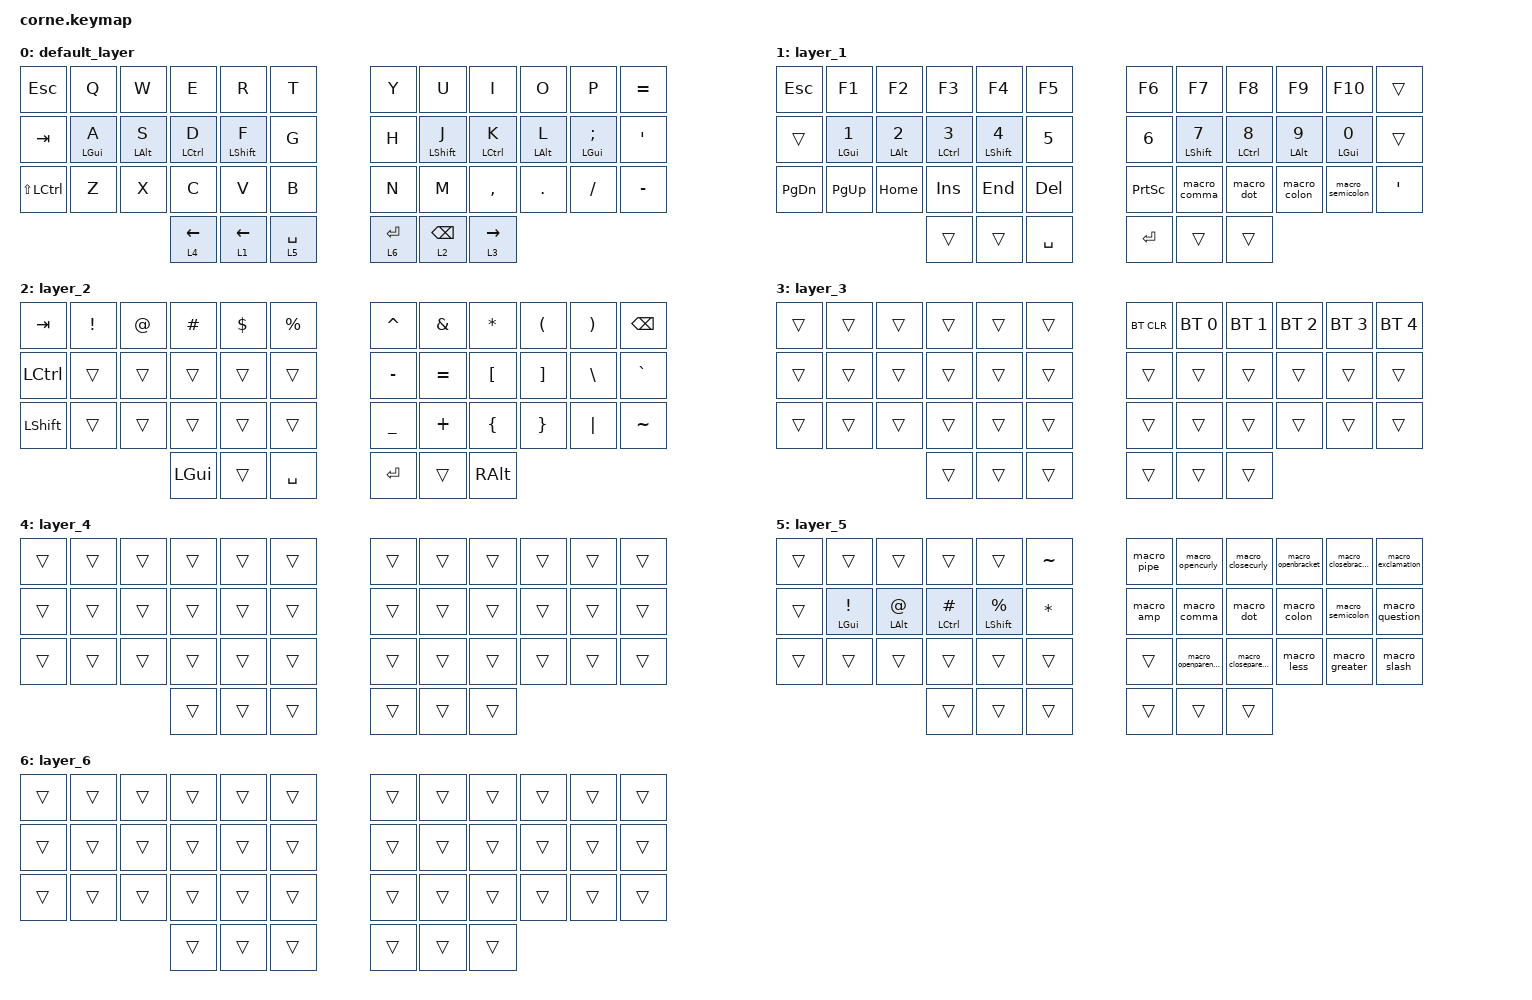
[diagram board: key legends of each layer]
/*
 * Copyright (c) 2020 The ZMK Contributors
 *
 * SPDX-License-Identifier: MIT
 */

#include <behaviors.dtsi>
#include <dt-bindings/zmk/bt.h>
#include <dt-bindings/zmk/keys.h>

/ {
    macros {
        macro_comma: macro_comma {
            compatible = "zmk,behavior-macro";
            #binding-cells = <0>;
            bindings =
                <&macro_press>,
                <&kp LALT>,
                <&macro_tap>,
                <&kp KP_N4 &kp KP_N4>,
                <&macro_release>,
                <&kp LALT>;
        };

        macro_dot: macro_dot {
            compatible = "zmk,behavior-macro";
            #binding-cells = <0>;
            bindings =
                <&macro_press>,
                <&kp LALT>,
                <&macro_tap>,
                <&kp KP_N4 &kp KP_N6>,
                <&macro_release>,
                <&kp LALT>;
        };

        macro_colon: macro_colon {
            compatible = "zmk,behavior-macro";
            #binding-cells = <0>;
            bindings =
                <&macro_press>,
                <&kp LALT>,
                <&macro_tap>,
                <&kp KP_N5 &kp KP_N8>,
                <&macro_release>,
                <&kp LALT>;
        };

        macro_semicolon: macro_semicolon {
            compatible = "zmk,behavior-macro";
            #binding-cells = <0>;
            bindings =
                <&macro_press>,
                <&kp LALT>,
                <&macro_tap>,
                <&kp KP_N5 &kp KP_N9>,
                <&macro_release>,
                <&kp LALT>;
        };

        macro_greater: macro_greater {
            compatible = "zmk,behavior-macro";
            #binding-cells = <0>;
            bindings =
                <&macro_press>,
                <&kp LALT>,
                <&macro_tap>,
                <&kp KP_N6 &kp KP_N2>,
                <&macro_release>,
                <&kp LALT>;
        };

        macro_less: macro_less {
            compatible = "zmk,behavior-macro";
            #binding-cells = <0>;
            bindings =
                <&macro_press>,
                <&kp LALT>,
                <&macro_tap>,
                <&kp KP_N6 &kp KP_N0>,
                <&macro_release>,
                <&kp LALT>;
        };

        macro_slash: macro_slash {
            compatible = "zmk,behavior-macro";
            #binding-cells = <0>;
            bindings =
                <&macro_press>,
                <&kp LALT>,
                <&macro_tap>,
                <&kp KP_N4 &kp KP_N7>,
                <&macro_release>,
                <&kp LALT>;
        };

        macro_pipe: macro_pipe {
            compatible = "zmk,behavior-macro";
            #binding-cells = <0>;
            bindings =
                <&macro_press>,
                <&kp LALT>,
                <&macro_tap>,
                <&kp KP_N1 &kp KP_N2 &kp KP_N4>,
                <&macro_release>,
                <&kp LALT>;
        };

        macro_amp: macro_amp {
            compatible = "zmk,behavior-macro";
            #binding-cells = <0>;
            bindings =
                <&macro_press>,
                <&kp LALT>,
                <&macro_tap>,
                <&kp KP_N3 &kp KP_N8>,
                <&macro_release>,
                <&kp LALT>;
        };

        macro_question: macro_question {
            compatible = "zmk,behavior-macro";
            #binding-cells = <0>;
            bindings =
                <&macro_press>,
                <&kp LALT>,
                <&macro_tap>,
                <&kp KP_N6 &kp KP_N3>,
                <&macro_release>,
                <&kp LALT>;
        };

        macro_exclamation: macro_exclamation {
            compatible = "zmk,behavior-macro";
            #binding-cells = <0>;
            bindings =
                <&macro_press>,
                <&kp LALT>,
                <&macro_tap>,
                <&kp KP_N3 &kp KP_N3>,
                <&macro_release>,
                <&kp LALT>;
        };

        macro_openbracket: macro_openbracket {
            compatible = "zmk,behavior-macro";
            #binding-cells = <0>;
            bindings =
                <&macro_press>,
                <&kp LALT>,
                <&macro_tap>,
                <&kp KP_N9 &kp KP_N1>,
                <&macro_release>,
                <&kp LALT>;
        };

        macro_closebracket: macro_closebracket {
            compatible = "zmk,behavior-macro";
            #binding-cells = <0>;
            bindings =
                <&macro_press>,
                <&kp LALT>,
                <&macro_tap>,
                <&kp KP_N9 &kp KP_N3>,
                <&macro_release>,
                <&kp LALT>;
        };

        macro_opencurly: macro_opencurly {
            compatible = "zmk,behavior-macro";
            #binding-cells = <0>;
            bindings =
                <&macro_press>,
                <&kp LALT>,
                <&macro_tap>,
                <&kp KP_N1 &kp KP_N2 &kp KP_N3>,
                <&macro_release>,
                <&kp LALT>;
        };

        macro_closecurly: macro_closecurly {
            compatible = "zmk,behavior-macro";
            #binding-cells = <0>;
            bindings =
                <&macro_press>,
                <&kp LALT>,
                <&macro_tap>,
                <&kp KP_N1 &kp KP_N2 &kp KP_N5>,
                <&macro_release>,
                <&kp LALT>;
        };

        macro_openparenthesis: macro_openparenthesis {
            compatible = "zmk,behavior-macro";
            #binding-cells = <0>;
            bindings =
                <&macro_press>,
                <&kp LALT>,
                <&macro_tap>,
                <&kp KP_N4 &kp KP_N0>,
                <&macro_release>,
                <&kp LALT>;
        };

        macro_closeparenthesis: macro_closeparenthesis {
            compatible = "zmk,behavior-macro";
            #binding-cells = <0>;
            bindings =
                <&macro_press>,
                <&kp LALT>,
                <&macro_tap>,
                <&kp KP_N4 &kp KP_N1>,
                <&macro_release>,
                <&kp LALT>;
        };
    };

    keymap {
        compatible = "zmk,keymap";

        default_layer {
            // -----------------------------------------------------------------------------------------
            // |  TAB |  Q  |  W  |  E  |  R  |  T  |   |  Y  |  U   |  I  |  O  |  P  | BSPC |
            // | CTRL |  A  |  S  |  D  |  F  |  G  |   |  H  |  J   |  K  |  L  |  ;  |  '   |
            // | SHFT |  Z  |  X  |  C  |  V  |  B  |   |  N  |  M   |  ,  |  .  |  /  | ESC  |
            //                    | GUI | LWR | SPC |   | ENT | RSE  | ALT |

            bindings = <
&kp ESC        &kp Q       &kp W       &kp E        &kp R        &kp T          &kp Y      &kp U        &kp I        &kp O       &kp P          &kp EQUAL
&kp TAB        &mt LGUI A  &mt LALT S  &mt LCTRL D  &mt LSHFT F  &kp G          &kp H      &mt LSHFT J  &mt LCTRL K  &mt LALT L  &mt LGUI SEMI  &kp SQT
&kp LS(LCTRL)  &kp Z       &kp X       &kp C        &kp V        &kp B          &kp N      &kp M        &kp COMMA    &kp DOT     &kp FSLH       &kp MINUS
                                       &lt 4 LEFT   &lt 1 LEFT   &lt 5 SPACE    &lt 6 RET  &lt 2 BSPC   &lt 3 RIGHT
            >;
        };

        layer_1 {
            // -----------------------------------------------------------------------------------------
            // |  TAB |  1  |  2  |  3  |  4  |  5  |   |  6  |  7  |  8  |  9  |  0  | BSPC |
            // | BTCLR| BT1 | BT2 | BT3 | BT4 | BT5 |   | LFT | DWN |  UP | RGT |     |      |
            // | SHFT |     |     |     |     |     |   |     |     |     |     |     |      |
            //                    | GUI |     | SPC |   | ENT |     | ALT |

            bindings = <
&kp ESCAPE     &kp F1                 &kp F2                 &kp F3              &kp F4                   &kp F5          &kp F6           &kp F7                   &kp F8                     &kp F9                 &kp F10                &trans
&trans         &mt LEFT_GUI NUMBER_1  &mt LEFT_ALT NUMBER_2  &mt LCTRL NUMBER_3  &mt LEFT_SHIFT NUMBER_4  &kp NUMBER_5    &kp NUMBER_6     &mt LEFT_SHIFT NUMBER_7  &mt LEFT_CONTROL NUMBER_8  &mt LEFT_ALT NUMBER_9  &mt LEFT_GUI NUMBER_0  &trans
&kp PAGE_DOWN  &kp PG_UP              &kp HOME               &kp INSERT          &kp END                  &kp DELETE      &kp PRINTSCREEN  &macro_comma             &macro_dot                 &macro_colon           &macro_semicolon       &kp SQT
                                                             &trans              &trans                   &kp SPACE       &kp RET          &trans                   &trans
            >;
        };

        layer_2 {
            // -----------------------------------------------------------------------------------------
            // |  TAB |  !  |  @  |  #  |  $  |  %  |   |  ^  |  &  |  *  |  (  |  )  | BSPC |
            // | CTRL |     |     |     |     |     |   |  -  |  =  |  [  |  ]  |  \  |  `   |
            // | SHFT |     |     |     |     |     |   |  _  |  +  |  {  |  }  | "|" |  ~   |
            //                    | GUI |     | SPC |   | ENT |     | ALT |

            bindings = <
&kp TAB    &kp EXCL  &kp AT  &kp HASH  &kp DLLR  &kp PRCNT    &kp CARET  &kp AMPS   &kp ASTRK  &kp LPAR  &kp RPAR  &kp BSPC
&kp LCTRL  &trans    &trans  &trans    &trans    &trans       &kp MINUS  &kp EQUAL  &kp LBKT   &kp RBKT  &kp BSLH  &kp GRAVE
&kp LSHFT  &trans    &trans  &trans    &trans    &trans       &kp UNDER  &kp PLUS   &kp LBRC   &kp RBRC  &kp PIPE  &kp TILDE
                             &kp LGUI  &trans    &kp SPACE    &kp RET    &trans     &kp RALT
            >;
        };

        layer_3 {
            bindings = <
&trans  &trans  &trans  &trans  &trans  &trans    &bt BT_CLR  &bt BT_SEL 0  &bt BT_SEL 1  &bt BT_SEL 2  &bt BT_SEL 3  &bt BT_SEL 4
&trans  &trans  &trans  &trans  &trans  &trans    &trans      &trans        &trans        &trans        &trans        &trans
&trans  &trans  &trans  &trans  &trans  &trans    &trans      &trans        &trans        &trans        &trans        &trans
                        &trans  &trans  &trans    &trans      &trans        &trans
            >;
        };

        layer_4 {
            bindings = <
&trans  &trans  &trans  &trans  &trans  &trans    &trans  &trans  &trans  &trans  &trans  &trans
&trans  &trans  &trans  &trans  &trans  &trans    &trans  &trans  &trans  &trans  &trans  &trans
&trans  &trans  &trans  &trans  &trans  &trans    &trans  &trans  &trans  &trans  &trans  &trans
                        &trans  &trans  &trans    &trans  &trans  &trans
            >;
        };

        layer_5 {
            bindings = <
&trans  &trans                    &trans                &trans          &trans             &kp TILDE       &macro_pipe  &macro_opencurly        &macro_closecurly        &macro_openbracket  &macro_closebracket  &macro_exclamation
&trans  &mt LEFT_GUI EXCLAMATION  &mt LEFT_ALT AT_SIGN  &mt LCTRL HASH  &mt LSHFT PERCENT  &kp ASTERISK    &macro_amp   &macro_comma            &macro_dot               &macro_colon        &macro_semicolon     &macro_question
&trans  &trans                    &trans                &trans          &trans             &trans          &trans       &macro_openparenthesis  &macro_closeparenthesis  &macro_less         &macro_greater       &macro_slash
                                                        &trans          &trans             &trans          &trans       &trans                  &trans
            >;
        };

        layer_6 {
            bindings = <
&trans  &trans  &trans  &trans  &trans  &trans    &trans  &trans  &trans  &trans  &trans  &trans
&trans  &trans  &trans  &trans  &trans  &trans    &trans  &trans  &trans  &trans  &trans  &trans
&trans  &trans  &trans  &trans  &trans  &trans    &trans  &trans  &trans  &trans  &trans  &trans
                        &trans  &trans  &trans    &trans  &trans  &trans
            >;
        };
    };
};
